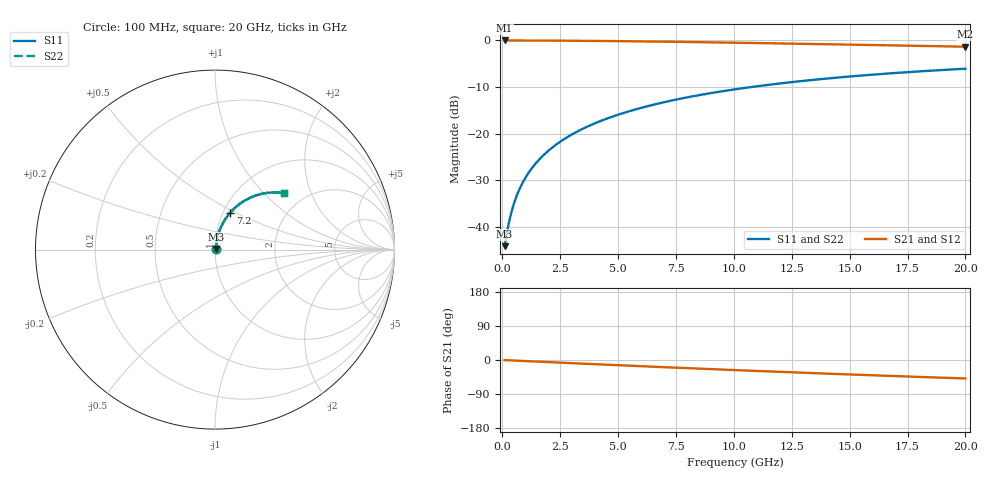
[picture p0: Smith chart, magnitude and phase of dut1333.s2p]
! Touchstone file exported from HFSS 2026.1.0
!  File:  C:/ffzhzh/LocalFiles/Ansys_Project_Files/temp_train_BSMRDL_1333_1783178717_18472.aedt
!  Generated:  11:26:34 PM Jul  4, 2026
!  Design:  BSMRDL
!  Project:  temp_train_BSMRDL_1333_1783178717_18472
! Variables:
!  h_bsmrdl = 4.56um
!  h_ox = 20um
!  h_rdl = 5um
!  h_sub = 80um
!  h_tmrdl = 5um
!  h_tsv = 80um
!  h_via = 3um
!  l_bsmrdl = 709.05um
!  l_sub = 1109.05um
!  l_tmrdl = 200um
!  m_sub = 200um
!  pitch = 37.99um
!  r_tsv = 6um
!  s_tmrdl = 10um
!  w_bsmrdl = 10.61um
!  w_sub = 500um
!  w_tmrdl = 12um
!  x_tsv_center1 = 206um
!  x_tsv_center2 = 925.66um
!  x_tsv_center3 = 1137.66um
!  x_tsv_center4 = 1857.32um
!  x_tsv_center5 = 2069.32um
!  x_tsv_center6 = 2788.98um
# GHz S MA R 50.000000
! Terminal data exported
! Port[1] = BSM_RDL1_1_T1
! Port[2] = BSM_RDL1_1_T2
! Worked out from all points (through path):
!   200 points, 100 MHz to 20 GHz, reference 50 ohm
!   highest |S21| = -0.05 dB at 100 MHz (marker M1); lowest = -1.4 dB at 20 GHz (marker M2)
!   group delay of S21, straight-line fit = 6.78 ps
!   lowest |S11| = -44.1 dB at 100 MHz (marker M3), VSWR 1.01, Z = 50.5 + j0.343 ohm
!   |S11| at or under -10 dB: start of sweep to 10.8 GHz
!   |S22| runs from -44.1 to -6.1 dB; largest |S21 - S12| = 5.3e-15
!   S11 on the Smith chart (normalised r, x): 100 MHz: 1.01, +0.01; 7.2 GHz: 1.08, +0.47; 20 GHz: 1.57, +1.31
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0.1  0.006209 33.2  0.9948 -0.3  0.9948 -0.3  0.006209 33.2
! Gamma 0 0 0 0
! Port Impedance 50 0 50 0
0.2  0.00861 51.8  0.9947 -0.6  0.9947 -0.6  0.00861 51.8
0.3  0.0115 61.4  0.9946 -0.9  0.9946 -0.9  0.0115 61.4
0.4  0.01455 66.8  0.9945 -1.1  0.9945 -1.1  0.01455 66.8
0.5  0.01767 70.3  0.9943 -1.4  0.9943 -1.4  0.01767 70.3
0.6  0.02083 72.6  0.9942 -1.7  0.9942 -1.7  0.02083 72.6
0.8  0.02719 75.5  0.9939 -2.3  0.9939 -2.3  0.02719 75.5
1.1  0.03682 77.6  0.9934 -3.1  0.9934 -3.1  0.03682 77.6
1.5  0.04971 78.7  0.9926 -4.2  0.9926 -4.2  0.04971 78.7
1.8  0.05937 78.8  0.9919 -5.0  0.9919 -5.0  0.05937 78.8
2.1  0.069 78.7  0.9911 -5.9  0.9911 -5.9  0.069 78.7
2.7  0.08814 77.9  0.9891 -7.5  0.9891 -7.5  0.08814 77.9
3.5  0.1133 76.4  0.9859 -9.7  0.9859 -9.7  0.1133 76.4
4.2  0.1349 74.8  0.9825 -11.6  0.9825 -11.6  0.1349 74.8
5  0.1592 72.9  0.9782 -13.8  0.9782 -13.8  0.1592 73.0
6.8  0.2115 68.6  0.9666 -18.5  0.9666 -18.5  0.2115 68.6
7.2  0.2227 67.6  0.9638 -19.5  0.9638 -19.5  0.2227 67.6
8.6  0.2607 64.2  0.9532 -23.1  0.9532 -23.1  0.2607 64.3
10.1  0.2992 60.7  0.941 -26.8  0.941 -26.8  0.2992 60.7
13.4  0.3756 53.2  0.9121 -34.6  0.9121 -34.6  0.3756 53.2
16.7  0.4409 46.1  0.8821 -41.9  0.8821 -41.9  0.4409 46.1
20  0.4952 39.4  0.8529 -48.8  0.8529 -48.8  0.4952 39.5
